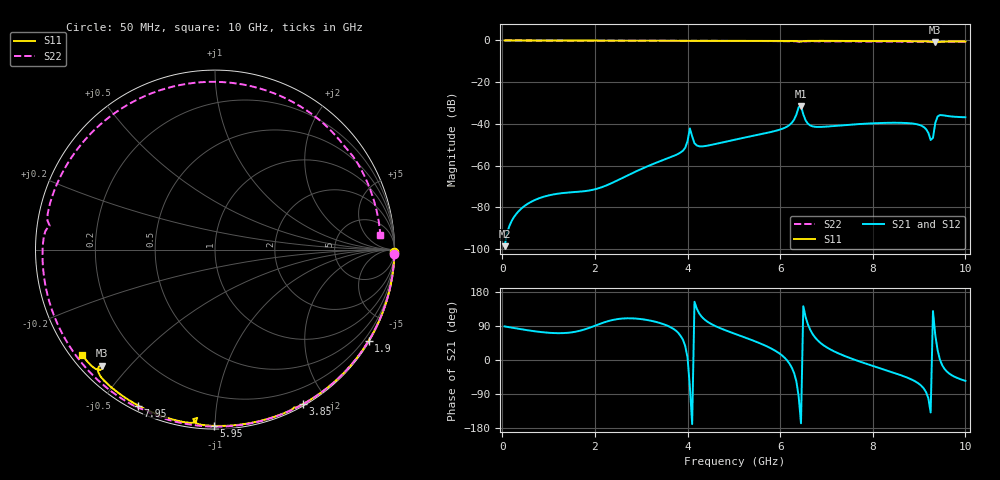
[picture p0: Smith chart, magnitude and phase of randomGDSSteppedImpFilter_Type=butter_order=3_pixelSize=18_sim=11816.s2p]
! freq	dB(S11)	phase(S11)	dB(S12)	phase(S12)
!  dB(S21)	phase(S21)	dB(S22)	phase(S22)
!S-par simulation data
#  GHz  S  DB  R 50
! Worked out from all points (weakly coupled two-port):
!   200 points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, 50 MHz to 10 GHz, reference 50 ohm
!   highest |S21| = -31.41 dB at 6.45 GHz (marker M1); lowest = -98.6 dB at 50 MHz (marker M2)
!   lowest |S11| = -0.9 dB at 9.35 GHz (marker M3), VSWR 19.61, Z = 3 - j21.1 ohm
!   |S11| at or under -10 dB: nowhere
!   |S22| runs from -0.7 to 0.0 dB; largest |S21 - S12| = 0
!   S11 on the Smith chart (normalised r, x): 50 MHz: open; 1.9 GHz: 0.03, -3.65; 3.85 GHz: 0.02, -1.71; 5.95 GHz: 0.02, -0.99; 7.95 GHz: 0.02, -0.62; 10 GHz: 0.03, -0.35
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0.05  -0.00 -0.8  -98.55 88.6  -98.55 88.6  -0.00 -1.5
1.75  -0.04 -28.3  -72.27 79.7  -72.27 79.7  -0.06 -49.5
1.9  -0.04 -30.6  -71.79 85.8  -71.79 85.8  -0.07 -53.6
3.4  -0.07 -53.8  -57.90 97.8  -57.90 97.8  -0.13 -95.1
3.85  -0.08 -60.5  -53.64 63.7  -53.64 63.7  -0.15 -107.7
3.95  -0.09 -62.0  -51.38 37.0  -51.38 37.0  -0.16 -110.6
4.05  -0.15 -63.5  -42.13 -69.4  -42.13 -69.4  -0.29 -113.5
4.25  -0.09 -66.2  -50.70 123.3  -50.70 123.3  -0.18 -118.8
5.05  -0.12 -77.7  -47.39 67.9  -47.39 67.9  -0.23 -142.4
5.95  -0.16 -90.3  -43.01 20.2  -43.01 20.2  -0.31 -171.4
6.25  -0.19 -94.7  -39.50 -19.8  -39.50 -19.8  -0.36 177.9
6.45  -0.51 -96.0  -31.41 -167.1  -31.41 -167.1  -0.62 171.8
6.55  -0.24 -97.3  -38.30 113.2  -38.30 113.2  -0.42 168.0
6.7  -0.21 -99.6  -41.16 68.7  -41.16 68.7  -0.41 161.9
7.95  -0.28 -116.2  -39.75 -13.6  -39.75 -13.6  -0.55 107.1
8.35  -0.31 -121.4  -39.45 -29.5  -39.45 -29.5  -0.59 87.3
9.05  -0.40 -130.9  -40.82 -68.2  -40.82 -68.2  -0.66 51.4
9.25  -0.58 -134.3  -47.69 -138.6  -47.69 -138.6  -0.69 41.3
9.3  -0.74 -134.8  -46.66 129.2  -46.66 129.2  -0.70 38.9
9.35  -0.89 -134.2  -39.48 65.8  -39.48 65.8  -0.68 36.6
9.45  -0.66 -133.6  -35.76 1.0  -35.76 1.0  -0.64 31.4
10  -0.50 -141.7  -36.79 -55.1  -36.79 -55.1  -0.68 4.9
